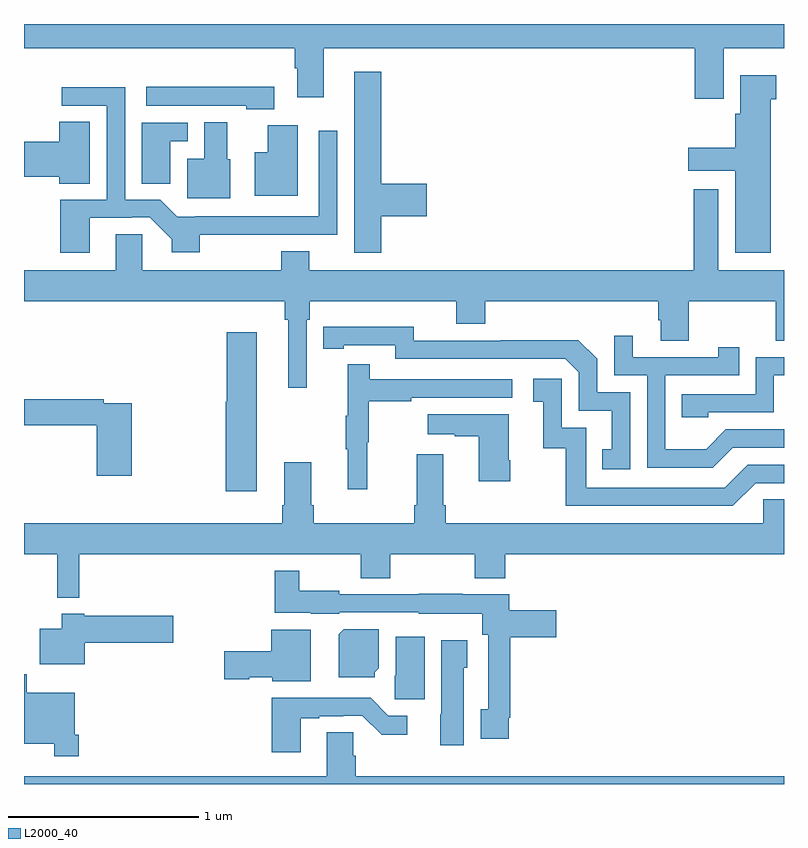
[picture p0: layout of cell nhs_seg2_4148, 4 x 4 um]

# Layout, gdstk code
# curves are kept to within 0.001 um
import gdstk
lib = gdstk.Library(unit=1e-6, precision=1e-09)
def P(c, l, *ps):  # polygons
    for p in ps: c.add(gdstk.Polygon(p, *l))
L2000_40 = (2000, 40)

nhs_seg2_4148 = lib.new_cell('nhs_seg2_4148')
P(nhs_seg2_4148, L2000_40, [(338.683,611.672),(339,611.672),(339,611.8),(335,611.8),(335,611.672),(336.425,611.672),(336.425,611.566),(336.437,611.566),(336.437,611.415),(336.577,611.415),(336.577,611.672),(338.531,611.672),(338.531,611.406),(338.683,611.406)],
  [(336.881,610.787),(337.12,610.787),(337.12,610.958),(336.881,610.958),(336.881,611.548),(336.737,611.548),(336.737,610.596),(336.881,610.596)],
  [(338.929,611.405),(338.959,611.405),(338.959,611.53),(338.771,611.53),(338.771,611.328),(338.744,611.328),(338.744,611.149),(338.496,611.149),(338.496,611.027),(338.744,611.027),(338.744,610.595),(338.929,610.595)],
  [(336.316,611.47),(335.643,611.47),(335.643,611.369),(336.171,611.369),(336.171,611.351),(336.316,611.351)],
  [(335.347,610.779),(335.567,610.779),(335.567,610.782),(335.661,610.782),(335.777,610.666),(335.777,610.598),(335.925,610.598),(335.925,610.691),(336.648,610.692),(336.648,611.239),(336.552,611.239),(336.552,610.788),(335.902,610.788),(335.902,610.785),(335.806,610.785),(335.716,610.875),(335.532,610.875),(335.532,611.468),(335.199,611.468),(335.199,611.37),(335.436,611.37),(335.436,610.875),(335.192,610.875),(335.192,610.596),(335.347,610.596)],
  [(335.347,611.285),(335.186,611.285),(335.186,611.18),(335,611.18),(335,610.997),(335.186,610.997),(335.186,610.96),(335.347,610.96)],
  [(336.085,611.088),(336.07,611.088),(336.07,611.284),(335.948,611.284),(335.948,611.092),(335.858,611.092),(335.858,610.883),(336.085,610.883)],
  [(335.77,611.184),(335.863,611.184),(335.863,611.28),(335.621,611.28),(335.621,610.96),(335.77,610.96)],
  [(336.442,611.266),(336.284,611.266),(336.284,611.125),(336.215,611.125),(336.215,610.895),(336.442,610.895)],
  [(335.483,610.694),(335.483,610.504),(335,610.504),(335,610.34),(336.373,610.34),(336.373,610.244),(336.392,610.244),(336.392,609.885),(336.489,609.885),(336.489,610.244),(336.503,610.244),(336.503,610.34),(337.274,610.34),(337.274,610.223),(337.427,610.223),(337.427,610.34),(338.339,610.34),(338.339,610.242),(338.351,610.242),(338.351,610.132),(338.499,610.132),(338.499,610.34),(338.956,610.34),(338.956,610.132),(339,610.132),(339,610.504),(338.653,610.504),(338.653,610.93),(338.525,610.93),(338.525,610.504),(336.502,610.504),(336.502,610.603),(336.355,610.603),(336.355,610.504),(335.622,610.504),(335.622,610.694)],
  [(338.19,609.861),(338.016,609.861),(338.016,610.038),(337.918,610.136),(337.51,610.136),(337.51,610.134),(337.05,610.134),(337.05,610.207),(336.574,610.206),(336.574,610.09),(336.682,610.09),(336.682,610.11),(336.954,610.11),(336.954,610.038),(337.848,610.038),(337.92,609.966),(337.92,609.765),(338.093,609.765),(338.093,609.561),(338.044,609.561),(338.044,609.456),(338.19,609.456)],
  [(336.226,610.177),(336.068,610.177),(336.068,609.813),(336.062,609.813),(336.062,609.342),(336.226,609.342)],
  [(338.731,609.57),(339,609.57),(339,609.666),(338.694,609.666),(338.59,609.562),(338.376,609.562),(338.376,609.951),(338.765,609.951),(338.765,610.099),(338.654,610.099),(338.654,610.047),(338.203,610.047),(338.203,610.159),(338.106,610.159),(338.106,609.951),(338.28,609.951),(338.28,609.465),(338.626,609.465)],
  [(338.601,609.756),(338.946,609.756),(338.946,609.951),(339,609.951),(339,610.047),(338.85,610.047),(338.85,609.852),(338.461,609.852),(338.461,609.729),(338.601,609.729)],
  [(336.806,609.6),(336.814,609.6),(336.814,609.814),(337.037,609.814),(337.037,609.834),(337.57,609.834),(337.57,609.93),(336.821,609.93),(336.821,610.009),(336.704,610.009),(336.704,609.737),(336.693,609.737),(336.693,609.563),(336.704,609.563),(336.704,609.351),(336.806,609.351)],
  [(338.85,609.384),(339,609.384),(339,609.48),(338.808,609.48),(338.688,609.36),(337.959,609.36),(337.959,609.675),(337.83,609.675),(337.83,609.934),(337.68,609.934),(337.68,609.813),(337.733,609.813),(337.733,609.567),(337.851,609.567),(337.851,609.264),(338.73,609.264)],
  [(335.567,609.804),(335.42,609.804),(335.42,609.824),(335,609.824),(335,609.688),(335.384,609.688),(335.384,609.423),(335.567,609.423)],
  [(337.56,609.505),(337.552,609.505),(337.552,609.745),(337.125,609.745),(337.125,609.641),(337.268,609.641),(337.268,609.631),(337.394,609.631),(337.394,609.393),(337.56,609.393)],
  [(335.291,609.008),(336.772,609.008),(336.772,608.884),(336.927,608.884),(336.927,609.008),(337.372,609.008),(337.372,608.884),(337.532,608.884),(337.532,609.008),(339,609.008),(339,609.299),(338.892,609.299),(338.892,609.172),(337.22,609.172),(337.22,609.268),(337.207,609.268),(337.207,609.535),(337.067,609.535),(337.067,609.268),(337.055,609.268),(337.055,609.172),(336.524,609.172),(336.524,609.268),(336.511,609.268),(336.511,609.493),(336.371,609.493),(336.371,609.268),(336.359,609.268),(336.359,609.172),(335,609.172),(335,609.008),(335.174,609.008),(335.174,608.78),(335.291,608.78)],
  [(337.552,608.149),(337.559,608.149),(337.559,608.573),(337.801,608.573),(337.801,608.715),(337.553,608.715),(337.553,608.799),(337.309,608.799),(337.309,608.801),(337.077,608.801),(337.077,608.799),(336.66,608.799),(336.66,608.818),(336.448,608.818),(336.448,608.923),(336.319,608.923),(336.319,608.702),(336.51,608.702),(336.51,608.696),(336.66,608.696),(336.66,608.703),(337.077,608.703),(337.077,608.696),(337.412,608.696),(337.412,608.585),(337.443,608.585),(337.443,608.193),(337.403,608.193),(337.403,608.037),(337.552,608.037)],
  [(335.32,608.543),(335.785,608.543),(335.785,608.685),(335.316,608.685),(335.316,608.695),(335.198,608.695),(335.198,608.617),(335.084,608.617),(335.084,608.429),(335.32,608.429)],
  [(336.846,608.388),(336.868,608.41),(336.868,608.614),(336.682,608.614),(336.656,608.588),(336.656,608.363),(336.846,608.363)],
  [(336.508,608.612),(336.302,608.612),(336.302,608.498),(336.054,608.498),(336.054,608.351),(336.186,608.351),(336.186,608.363),(336.306,608.363),(336.306,608.342),(336.508,608.342)],
  [(337.108,608.575),(336.956,608.575),(336.956,608.37),(336.952,608.37),(336.952,608.247),(337.108,608.247)],
  [(337.315,608.412),(337.333,608.412),(337.333,608.557),(337.196,608.557),(337.196,608.166),(337.19,608.166),(337.19,608.004),(337.315,608.004)],
  [(335.288,608.059),(335.268,608.059),(335.268,608.281),(335.015,608.281),(335.015,608.377),(335,608.377),(335,608.012),(335.16,608.012),(335.16,607.947),(335.288,607.947)],
  [(336.457,608.145),(336.553,608.145),(336.553,608.157),(336.68,608.157),(336.68,608.16),(336.78,608.16),(336.883,608.058),(337.018,608.058),(337.018,608.16),(336.918,608.16),(336.824,608.254),(336.305,608.254),(336.305,607.968),(336.457,607.968)],
  [(339,607.84),(336.746,607.84),(336.746,607.95),(336.732,607.95),(336.732,608.072),(336.593,608.072),(336.593,607.84),(335,607.84),(335,607.8),(339,607.8)])

lib.write_gds('nhs_seg2_4148.gds')
